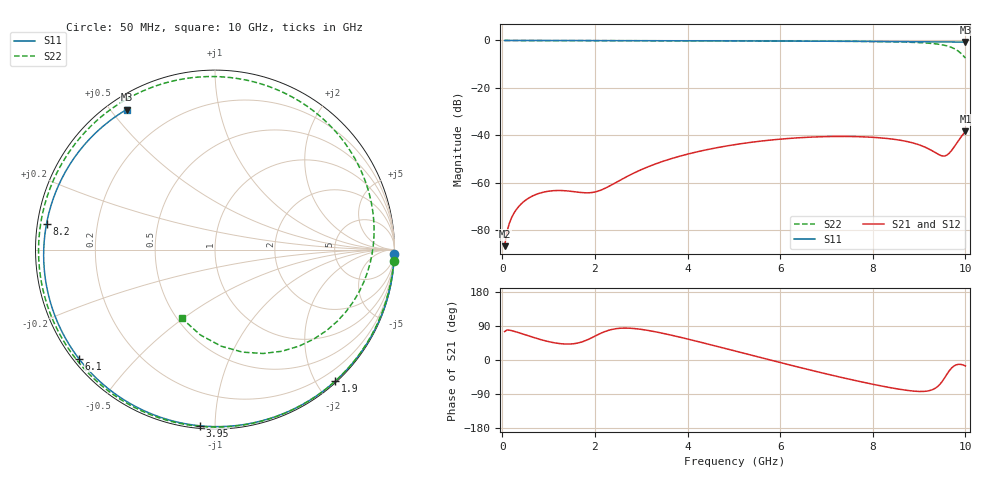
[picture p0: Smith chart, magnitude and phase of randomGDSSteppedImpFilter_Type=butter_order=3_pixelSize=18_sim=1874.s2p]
! freq	dB(S11)	phase(S11)	dB(S12)	phase(S12)
!  dB(S21)	phase(S21)	dB(S22)	phase(S22)
!S-par simulation data
#  GHz  S  DB  R 50
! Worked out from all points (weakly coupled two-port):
!   200 points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, 50 MHz to 10 GHz, reference 50 ohm
!   highest |S21| = -38.32 dB at 10 GHz (marker M1); lowest = -86.7 dB at 50 MHz (marker M2)
!   lowest |S11| = -0.7 dB at 10 GHz (marker M3), VSWR 24.88, Z = 2.62 + j27.5 ohm
!   |S11| at or under -10 dB: nowhere
!   |S22| runs from -7.4 to 0.0 dB; largest |S21 - S12| = 0
!   S11 on the Smith chart (normalised r, x): 50 MHz: 4, -87; 1.9 GHz: 0.02, -2.27; 3.95 GHz: 0.01, -0.92; 6.1 GHz: 0.02, -0.35; 8.2 GHz: 0.03, +0.08; 10 GHz: 0.05, +0.55
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0.05  -0.01 -1.3  -86.67 75.1  -86.67 75.1  -0.01 -3.7
0.1  -0.01 -2.6  -80.63 79.1  -80.63 79.1  -0.03 -7.2
0.2  -0.01 -5.1  -74.69 77.6  -74.69 77.6  -0.04 -14.2
0.35  -0.02 -8.9  -70.07 72.2  -70.07 72.2  -0.05 -24.6
0.65  -0.02 -16.5  -65.55 60.3  -65.55 60.3  -0.06 -44.8
1.15  -0.04 -29.1  -63.24 44.9  -63.24 44.9  -0.08 -75.3
1.75  -0.06 -43.9  -64.14 49.0  -64.14 49.0  -0.11 -106.2
1.9  -0.06 -47.5  -64.14 56.8  -64.14 56.8  -0.11 -113.0
2.6  -0.08 -64.2  -58.28 84.1  -58.28 84.1  -0.12 -140.9
3.4  -0.11 -82.6  -51.38 72.1  -51.38 72.1  -0.14 -167.5
3.95  -0.13 -94.9  -48.15 56.9  -48.15 56.9  -0.15 176.2
5.05  -0.18 -118.8  -43.81 23.0  -43.81 23.0  -0.20 145.6
6.1  -0.25 -141.3  -41.42 -9.8  -41.42 -9.8  -0.25 116.5
6.7  -0.30 -154.3  -40.70 -28.0  -40.70 -28.0  -0.29 99.0
7.5  -0.37 -172.2  -40.46 -50.9  -40.46 -50.9  -0.37 73.5
8.2  -0.45 171.3  -41.10 -68.9  -41.10 -68.9  -0.51 48.0
8.35  -0.47 167.6  -41.39 -72.4  -41.39 -72.4  -0.55 41.9
8.95  -0.54 152.2  -43.65 -82.7  -43.65 -82.7  -0.87 13.8
9.4  -0.61 139.9  -47.82 -70.1  -47.82 -70.1  -1.54 -16.2
9.6  -0.64 134.2  -48.32 -37.7  -48.32 -37.7  -2.29 -36.0
9.8  -0.67 128.3  -43.65 -12.8  -43.65 -12.8  -3.91 -65.2
10  -0.70 122.3  -38.32 -15.7  -38.32 -15.7  -7.43 -115.7
